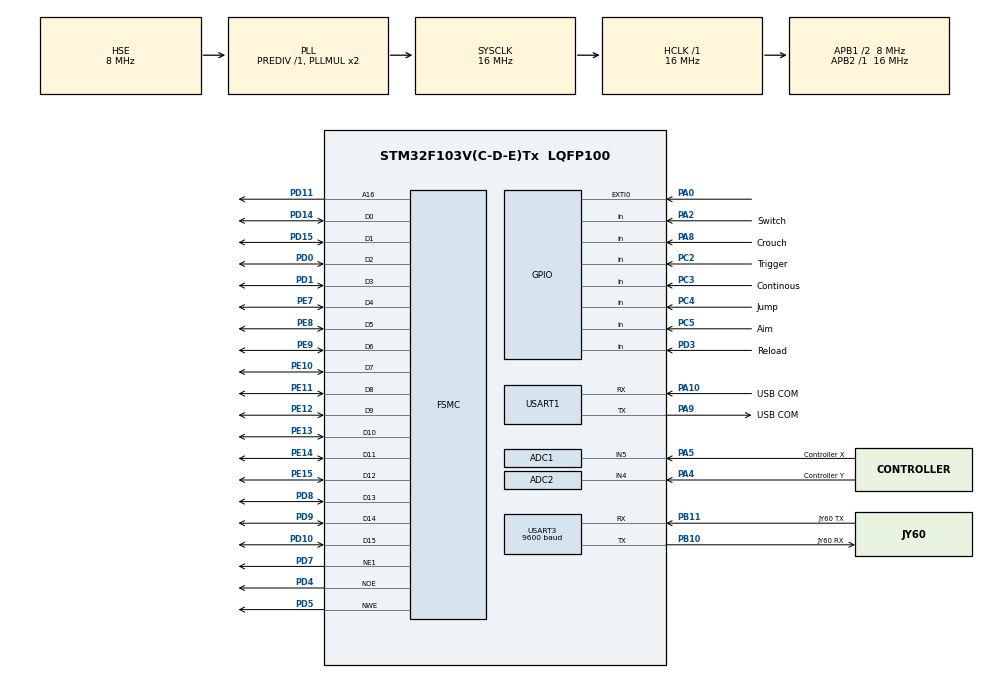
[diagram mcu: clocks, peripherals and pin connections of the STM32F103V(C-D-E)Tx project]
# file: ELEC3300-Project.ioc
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ADC1.Channel-0\#ChannelRegularConversion=ADC_CHANNEL_5
ADC1.ContinuousConvMode=ENABLE
ADC1.NbrOfConversionFlag=1
ADC1.Rank-0\#ChannelRegularConversion=1
ADC1.SamplingTime-0\#ChannelRegularConversion=ADC_SAMPLETIME_1CYCLE_5
ADC1.master=1
ADC2.Channel-4\#ChannelRegularConversion=ADC_CHANNEL_4
ADC2.ContinuousConvMode=ENABLE
ADC2.NbrOfConversionFlag=1
ADC2.Rank-4\#ChannelRegularConversion=1
ADC2.SamplingTime-4\#ChannelRegularConversion=ADC_SAMPLETIME_1CYCLE_5
Mcu.Family=STM32F1
Mcu.Name=STM32F103V(C-D-E)Tx
Mcu.Package=LQFP100
NVIC.EXTI0_IRQn=true\:0\:0\:false\:false\:true\:true\:true\:true
NVIC.PriorityGroup=NVIC_PRIORITYGROUP_4
OSC_IN.Mode=HSE-External-Oscillator
OSC_IN.Signal=RCC_OSC_IN
OSC_OUT.Mode=HSE-External-Oscillator
OSC_OUT.Signal=RCC_OSC_OUT
PA0-WKUP.Signal=GPXTI0
PA10.GPIO_Label=USB COM
PA10.Mode=Asynchronous
PA10.Signal=USART1_RX
PA13.Mode=Serial_Wire
PA13.Signal=SYS_JTMS-SWDIO
PA14.Mode=Serial_Wire
PA14.Signal=SYS_JTCK-SWCLK
PA2.GPIO_Label=Switch
PA2.GPIO_PuPd=GPIO_PULLDOWN
PA2.Signal=GPIO_Input
PA4.GPIO_Label=Controller Y
PA4.Signal=ADCx_IN4
PA5.GPIO_Label=Controller X
PA5.Signal=ADCx_IN5
PA8.GPIO_Label=Crouch
PA8.GPIO_PuPd=GPIO_PULLDOWN
PA8.Signal=GPIO_Input
PA9.GPIO_Label=USB COM
PA9.Mode=Asynchronous
PA9.Signal=USART1_TX
PB10.GPIO_Label=JY60 RX
PB10.Mode=Asynchronous
PB10.Signal=USART3_TX
PB11.GPIO_Label=JY60 TX
PB11.Mode=Asynchronous
PB11.Signal=USART3_RX
PC14-OSC32_IN.Mode=LSE-External-Oscillator
PC14-OSC32_IN.Signal=RCC_OSC32_IN
PC15-OSC32_OUT.Mode=LSE-External-Oscillator
PC15-OSC32_OUT.Signal=RCC_OSC32_OUT
PC2.GPIO_Label=Trigger
PC2.GPIO_PuPd=GPIO_PULLDOWN
PC2.Signal=GPIO_Input
PC3.GPIO_Label=Continous
PC3.GPIO_PuPd=GPIO_PULLDOWN
PC3.Signal=GPIO_Input
PC4.GPIO_Label=Jump
PC4.GPIO_PuPd=GPIO_PULLDOWN
PC4.Signal=GPIO_Input
PC5.GPIO_Label=Aim
PC5.GPIO_PuPd=GPIO_PULLDOWN
PC5.Signal=GPIO_Input
PD0.Mode=16b-d1
PD0.Signal=FSMC_D2
PD1.Mode=16b-d1
PD1.Signal=FSMC_D3
PD10.Mode=16b-d1
PD10.Signal=FSMC_D15
PD11.Mode=A16_1
PD11.Signal=FSMC_A16
PD14.Mode=16b-d1
PD14.Signal=FSMC_D0
PD15.Mode=16b-d1
PD15.Signal=FSMC_D1
PD3.GPIO_Label=Reload
PD3.GPIO_PuPd=GPIO_PULLDOWN
PD3.Signal=GPIO_Input
PD4.Mode=Lcd1
PD4.Signal=FSMC_NOE
PD5.Mode=Lcd1
PD5.Signal=FSMC_NWE
PD7.Mode=NorPsramChipSelect1_1
PD7.Signal=FSMC_NE1
PD8.Mode=16b-d1
PD8.Signal=FSMC_D13
PD9.Mode=16b-d1
PD9.Signal=FSMC_D14
PE10.Mode=16b-d1
PE10.Signal=FSMC_D7
PE11.Mode=16b-d1
PE11.Signal=FSMC_D8
PE12.Mode=16b-d1
PE12.Signal=FSMC_D9
PE13.Mode=16b-d1
PE13.Signal=FSMC_D10
PE14.Mode=16b-d1
PE14.Signal=FSMC_D11
PE15.Mode=16b-d1
PE15.Signal=FSMC_D12
PE7.Mode=16b-d1
PE7.Signal=FSMC_D4
PE8.Mode=16b-d1
PE8.Signal=FSMC_D5
PE9.Mode=16b-d1
PE9.Signal=FSMC_D6
ProjectManager.HeapSize=0x200
ProjectManager.StackSize=0x400
ProjectManager.TargetToolchain=STM32CubeIDE
RCC.AHBFreq_Value=16000000
RCC.APB1CLKDivider=RCC_HCLK_DIV2
RCC.APB1Freq_Value=8000000
RCC.APB1TimFreq_Value=16000000
RCC.APB2Freq_Value=16000000
RCC.APB2TimFreq_Value=16000000
RCC.HCLKFreq_Value=16000000
RCC.PLLSourceVirtual=RCC_PLLSOURCE_HSE
RCC.SYSCLKFreq_VALUE=16000000
RCC.SYSCLKSource=RCC_SYSCLKSOURCE_PLLCLK
RCC.USBFreq_Value=10666666.666666666
RCC.USBPrescaler=RCC_USBCLKSOURCE_PLL_DIV1_5
SH.ADCx_IN4.0=ADC2_IN4,IN4
SH.ADCx_IN5.0=ADC1_IN5,IN5
USART1.VirtualMode=VM_ASYNC
USART3.BaudRate=9600
USART3.VirtualMode=VM_ASYNC
board=custom

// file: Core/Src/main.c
/* USER CODE BEGIN Header */
/**
 ******************************************************************************
 * @file           : main.c
 * @brief          : Main program body
 ******************************************************************************
 * @attention
 *
 * Copyright (c) 2024 STMicroelectronics.
 * All rights reserved.
 *
 * This software is licensed under terms that can be found in the LICENSE file
 * in the root directory of this software component.
 * If no LICENSE file comes with this software, it is provided AS-IS.
 *
 ******************************************************************************
 */
/* USER CODE END Header */
#include "main.h"
#include "adc.h"
#include "usart.h"
#include "gpio.h"
#include "fsmc.h"

/* USER CODE BEGIN Includes */
#include <stdio.h>
#include "lcd.h"
#include "state.h"
#include "output.h"
#include "input.h"
/* USER CODE END Includes */

void SystemClock_Config(void);

/* USER CODE BEGIN 0 */
State state;

/* USER CODE END 0 */

int main(void)
{

  /* MCU Configuration--------------------------------------------------------*/

  /* Reset of all peripherals, Initializes the Flash interface and the Systick. */
  HAL_Init();

  /* Configure the system clock */
  SystemClock_Config();

  /* Initialize all configured peripherals */
  MX_GPIO_Init();
  MX_FSMC_Init();
  MX_USART1_UART_Init();
  MX_ADC1_Init();
  MX_USART3_UART_Init();
  MX_ADC2_Init();
  /* USER CODE BEGIN 2 */
    LCD_INIT();
    init_jy60();
    HAL_ADCEx_Calibration_Start(&hadc1);
    HAL_ADC_Start(&hadc1);
    HAL_ADCEx_Calibration_Start(&hadc2);
    HAL_ADC_Start(&hadc2);
    init_state(&state);
    init_joystick_offset(&state.input_joystick_offset);
  /* USER CODE END 2 */

  /* Infinite loop */
    while (1) {

    /* USER CODE BEGIN 3 */
        read_into_state(&state);

        update_state(&state);

        generate_output_from_state(&state.output);
         HAL_Delay(2);
    }
  /* USER CODE END 3 */
}

void SystemClock_Config(void)
{
  RCC_OscInitTypeDef RCC_OscInitStruct = {0};
  RCC_ClkInitTypeDef RCC_ClkInitStruct = {0};
  RCC_PeriphCLKInitTypeDef PeriphClkInit = {0};

  /** Initializes the RCC Oscillators according to the specified parameters
  * in the RCC_OscInitTypeDef structure.
  */
  RCC_OscInitStruct.OscillatorType = RCC_OSCILLATORTYPE_HSE;
  RCC_OscInitStruct.HSEState = RCC_HSE_ON;
  RCC_OscInitStruct.HSEPredivValue = RCC_HSE_PREDIV_DIV1;
  RCC_OscInitStruct.HSIState = RCC_HSI_ON;
  RCC_OscInitStruct.PLL.PLLState = RCC_PLL_ON;
  RCC_OscInitStruct.PLL.PLLSource = RCC_PLLSOURCE_HSE;
  RCC_OscInitStruct.PLL.PLLMUL = RCC_PLL_MUL2;
  if (HAL_RCC_OscConfig(&RCC_OscInitStruct) != HAL_OK)
  {
    Error_Handler();
  }

  /** Initializes the CPU, AHB and APB buses clocks
  */
  RCC_ClkInitStruct.ClockType = RCC_CLOCKTYPE_HCLK|RCC_CLOCKTYPE_SYSCLK
                              |RCC_CLOCKTYPE_PCLK1|RCC_CLOCKTYPE_PCLK2;
  RCC_ClkInitStruct.SYSCLKSource = RCC_SYSCLKSOURCE_PLLCLK;
  RCC_ClkInitStruct.AHBCLKDivider = RCC_SYSCLK_DIV1;
  RCC_ClkInitStruct.APB1CLKDivider = RCC_HCLK_DIV2;
  RCC_ClkInitStruct.APB2CLKDivider = RCC_HCLK_DIV1;

  if (HAL_RCC_ClockConfig(&RCC_ClkInitStruct, FLASH_LATENCY_0) != HAL_OK)
  {
    Error_Handler();
  }
  PeriphClkInit.PeriphClockSelection = RCC_PERIPHCLK_ADC;
  PeriphClkInit.AdcClockSelection = RCC_ADCPCLK2_DIV2;
  if (HAL_RCCEx_PeriphCLKConfig(&PeriphClkInit) != HAL_OK)
  {
    Error_Handler();
  }
}

void Error_Handler(void)
{
    __disable_irq();
    while (1) {
    }
}
